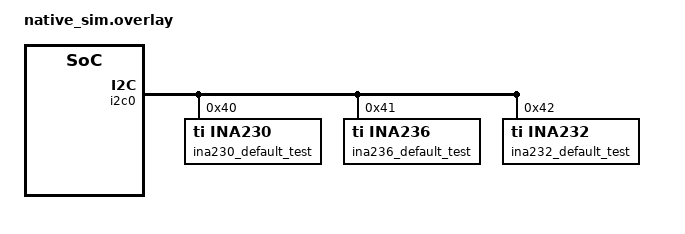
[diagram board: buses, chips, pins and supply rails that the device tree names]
/* Copyright (c) 2023 North River Systems Ltd
 * SPDX-License-Identifier: Apache-2.0
 */

#include <zephyr/dt-bindings/sensor/ina230.h>

&i2c0 {
	status = "okay";

	/* Datasheet example and Default DT Configuration Test */
	ina230_default_test: ina230@40 {
		compatible = "ti,ina230";
		reg = <0x40>;
		rshunt-micro-ohms = <2000>;
		current-lsb-microamps = <1000>;
		status = "okay";
	};

	ina236_default_test: ina236@41 {
		compatible = "ti,ina236";
		reg = <0x41>;
		rshunt-micro-ohms = <2000>;
		current-lsb-microamps = <1000>;
		status = "okay";
	};

	ina232_default_test: ina232@42 {
		compatible = "ti,ina232";
		reg = <0x42>;
		rshunt-micro-ohms = <2000>;
		current-lsb-microamps = <1000>;
		status = "okay";
	};
};
